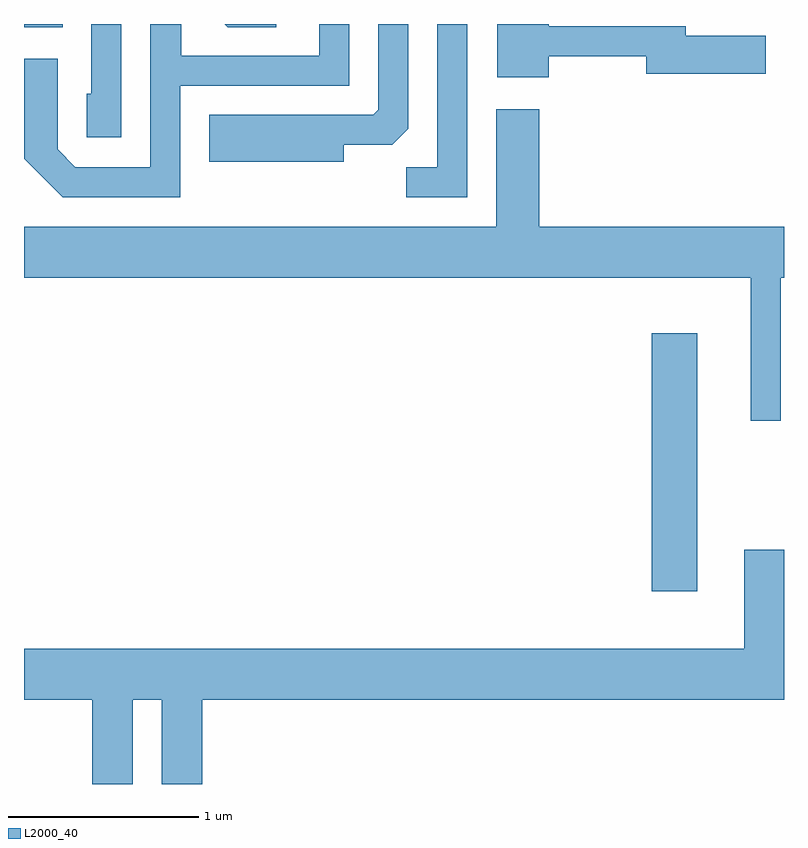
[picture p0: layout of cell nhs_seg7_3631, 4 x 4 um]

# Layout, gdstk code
import gdstk
lib = gdstk.Library(unit=1e-6, precision=1e-09)
def R(c, l, rs):  # rectangles x0, y0, x1, y1
    for r in rs: c.add(gdstk.rectangle(r[:2], r[2:], *l))
def P(c, l, *ps):  # polygons
    for p in ps: c.add(gdstk.Polygon(p, *l))
L2000_40 = (2000, 40)

nhs_seg7_3631 = lib.new_cell('nhs_seg7_3631')
R(nhs_seg7_3631, L2000_40, [(298.916,1779.266,299.154,1780.624), (295.611,1782.236,295.814,1782.252)])
P(nhs_seg7_3631, L2000_40, [(296.434,1781.926),(297.324,1781.926),(297.324,1782.252),(297.166,1782.252),(297.166,1782.084),(296.439,1782.084),(296.439,1782.252),(296.276,1782.252),(296.276,1781.499),(295.882,1781.499),(295.789,1781.592),(295.789,1782.069),(295.611,1782.069),(295.611,1781.544),(295.814,1781.341),(296.434,1781.341)],
  [(296.124,1782.252),(295.966,1782.252),(295.966,1781.884),(295.941,1781.884),(295.941,1781.656),(296.124,1781.656)],
  [(296.939,1782.252),(296.668,1782.252),(296.684,1782.236),(296.939,1782.236)],
  [(298.374,1782.081),(298.886,1782.081),(298.886,1781.991),(299.514,1781.991),(299.514,1782.189),(299.094,1782.189),(299.094,1782.239),(298.374,1782.239),(298.374,1782.252),(298.101,1782.252),(298.101,1781.971),(298.374,1781.971)],
  [(297.294,1781.616),(297.549,1781.616),(297.634,1781.702),(297.634,1782.252),(297.476,1782.252),(297.476,1781.802),(297.449,1781.774),(296.586,1781.774),(296.586,1781.526),(297.294,1781.526)],
  [(297.944,1782.252),(297.786,1782.252),(297.786,1781.499),(297.623,1781.499),(297.623,1781.341),(297.944,1781.341)],
  [(299.594,1780.916),(299.611,1780.916),(299.611,1781.184),(298.324,1781.184),(298.324,1781.804),(298.096,1781.804),(298.096,1781.184),(295.611,1781.184),(295.611,1780.916),(299.436,1780.916),(299.436,1780.163),(299.594,1780.163)],
  [(296.184,1778.696),(296.336,1778.696),(296.336,1778.252),(296.549,1778.252),(296.549,1778.696),(299.611,1778.696),(299.611,1779.484),(299.401,1779.484),(299.401,1778.964),(295.611,1778.964),(295.611,1778.696),(295.971,1778.696),(295.971,1778.252),(296.184,1778.252)])

lib.write_gds('nhs_seg7_3631.gds')
